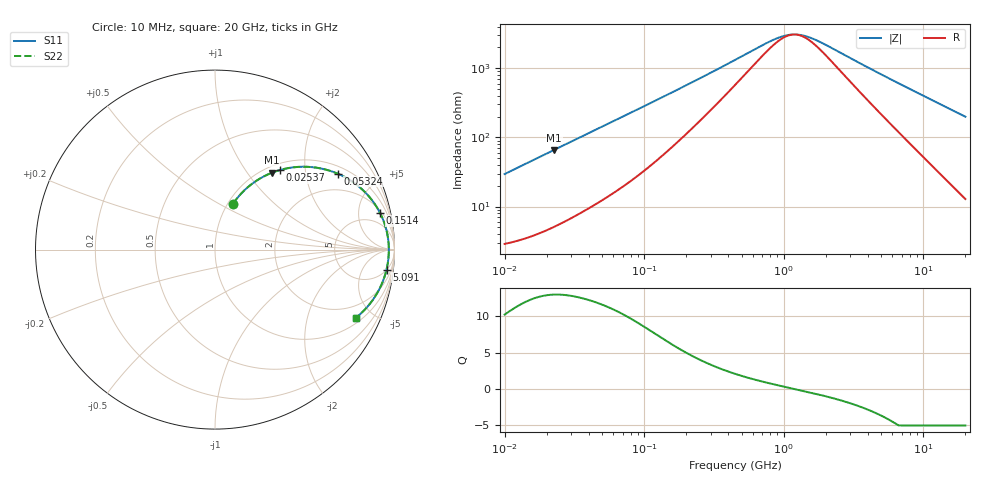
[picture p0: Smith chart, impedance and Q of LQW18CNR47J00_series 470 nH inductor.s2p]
!Murata Part Number: LQW18CNR47J00
!These Parameters are Measured in Series Mode Connection
!  o--[Z]--o
!Port1  Port2
!  o-------o
!Freq. Start=10[MHz] Stop=20[GHz], 401[Steps]
# Hz S RI R 50
!Freq.(Hz) S11(Real) S11(Imag) S21(Real) S21(Imag) S12(Real) S12(Imag) S22(Real) S22(Imag)
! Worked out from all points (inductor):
!   401 points, 10 MHz to 20 GHz, reference 50 ohm
!   read as one part in series: L = 467 nH near 10.39 MHz
!   highest Q = 12.9 at 22.64 MHz (marker M1), where L = 463 nH
!   self-resonance near 1.19 GHz
!   S11 on the Smith chart (normalised r, x): 10 MHz: 1.06, +0.59; 25.37 MHz: 1.11, +1.47; 53.24 MHz: 1.27, +3.03; 151.4 MHz: 2.34, +8.46; 5.091 GHz: 5, -15; 20 GHz: 1.26, -3.98
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1e7  0.1013 0.2567  0.8987 -0.2567  0.8987 -0.2567  0.1013 0.2567
1.518996e7  0.1852 0.3496  0.8148 -0.3496  0.8148 -0.3496  0.1852 0.3496
2.263918e7  0.3167 0.4281  0.6833 -0.4281  0.6833 -0.4281  0.3167 0.4281
2.537325e7  0.3629 0.4437  0.6371 -0.4437  0.6371 -0.4437  0.3629 0.4437
3.572091e7  0.514 0.4613  0.486 -0.4613  0.486 -0.4613  0.514 0.4613
5.32386e7  0.6834 0.4232  0.3166 -0.4232  0.3166 -0.4232  0.6834 0.4232
8.086922e7  0.8162 0.3387  0.1838 -0.3387  0.1838 -0.3387  0.8162 0.3387
1.275983e8  0.9004 0.2381  0.0996 -0.2381  0.0996 -0.2381  0.9004 0.2381
1.513973e8  0.9194 0.2045  0.0806 -0.2045  0.0806 -0.2045  0.9194 0.2045
2.528935e8  0.9512 0.1235  0.0488 -0.1235  0.0488 -0.1235  0.9512 0.1235
4.472136e8  0.964 0.0638  0.036 -0.0638  0.036 -0.0638  0.964 0.0638
7.759606e8  0.9679 0.0247  0.0321 -0.0247  0.0321 -0.0247  0.9679 0.0247
9.933977e8  0.9685 0.0102  0.0315 -0.0102  0.0315 -0.0102  0.9685 0.0102
1.113368e9  0.9686 0.00374  0.0314 -0.00374  0.0314 -0.00374  0.9686 0.00374
1.247826e9  0.9686 -0.00266  0.0314 0.00266  0.0314 0.00266  0.9686 -0.00266
1.597488e9  0.9683 -0.0168  0.0317 0.0168  0.0317 0.0168  0.9683 -0.0168
2.006635e9  0.9677 -0.0306  0.0323 0.0306  0.0323 0.0306  0.9677 -0.0306
5.091486e9  0.9555 -0.112  0.0445 0.112  0.0445 0.112  0.9555 -0.112
5.706372e9  0.9518 -0.1265  0.0482 0.1265  0.0482 0.1265  0.9518 -0.1265
1.152671e10  0.8993 -0.2497  0.1007 0.2497  0.1007 0.2497  0.8993 -0.2497
1.503978e10  0.8554 -0.3112  0.1446 0.3112  0.1446 0.3112  0.8554 -0.3112
2e10  0.7841 -0.3804  0.2159 0.3804  0.2159 0.3804  0.7841 -0.3804
